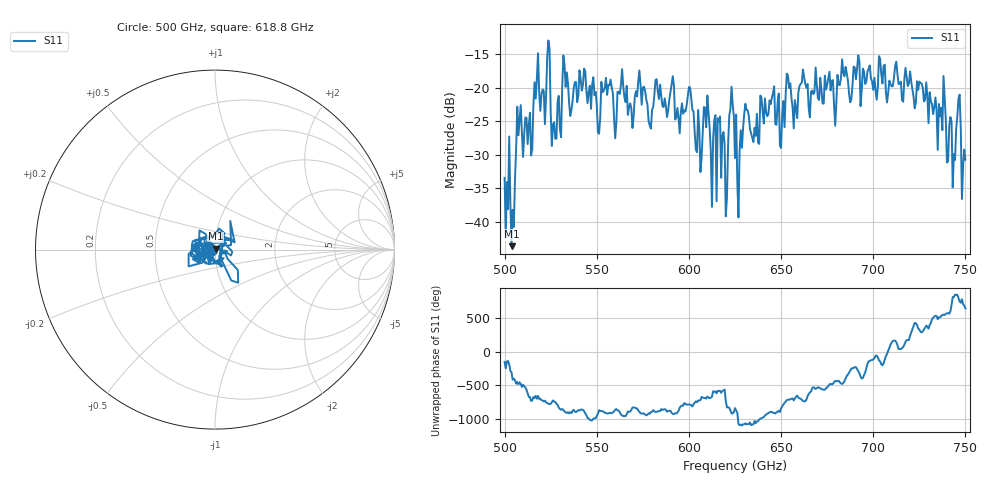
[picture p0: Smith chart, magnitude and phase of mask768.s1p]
!Created with skrf (http://scikit-rf.org).
# GHz S MA R 50.0
!freq magS11 angS11
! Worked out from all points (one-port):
!   401 points, 500 GHz to 750 GHz, reference 50 ohm
!   lowest |S11| = -43.6 dB at 503.8 GHz (marker M1), VSWR 1.01, Z = 50.4 + j0.54 ohm
!   |S11| at or under -10 dB: start of sweep to end of sweep
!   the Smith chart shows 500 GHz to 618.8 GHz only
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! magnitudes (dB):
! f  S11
! 500 GHz  -33.4
! 503.8 GHz  -43.6
! 507.5 GHz  -27.1
! 513.8 GHz  -23.7
! 517.5 GHz  -18.7
! 523.8 GHz  -13.0
! 526.9 GHz  -25.1
! 531.2 GHz  -19.9
! 550.6 GHz  -26.6
! 562.5 GHz  -20.9
! 579.4 GHz  -26.1
! 590.6 GHz  -19.5
! 593.8 GHz  -23.0
! 600.6 GHz  -20.0
! 605.6 GHz  -26.2
! 609.4 GHz  -25.9
! 620 GHz  -39.2
! 623.1 GHz  -19.8
! 625 GHz  -30.5
! 627.5 GHz  -29.4
! 631.2 GHz  -23.3
! 656.2 GHz  -22.9
! 687.5 GHz  -22.2
! 718.8 GHz  -19.7
! 738.1 GHz  -18.2
! 743.8 GHz  -29.9
! 746.2 GHz  -21.6
! 750 GHz  -30.7
